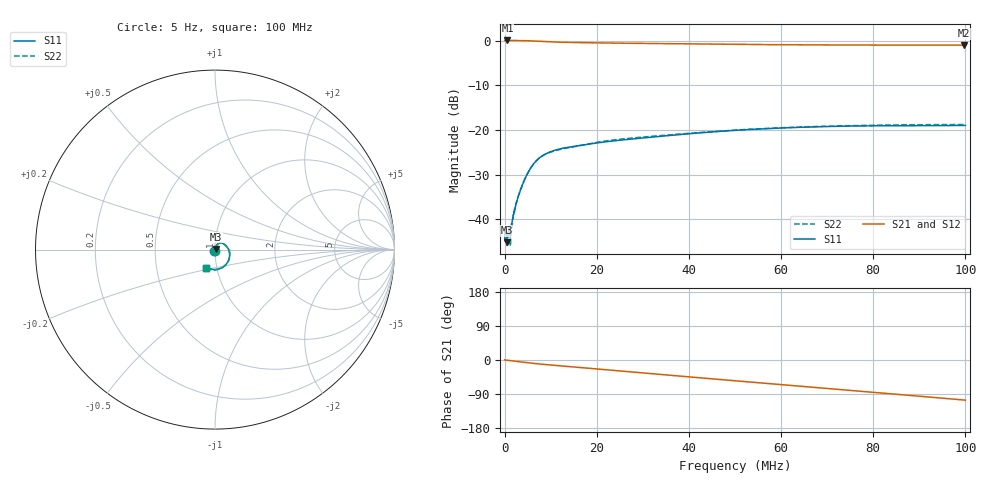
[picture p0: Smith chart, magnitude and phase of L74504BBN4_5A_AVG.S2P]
!Agilent Technologies,E5061B,MY49102235,A.02.00
!Date: Tue Jul 11 16:35:54 2023
!Data & Calibration Information:
!Freq	S11:SOLT2(ON)	S21:SOLT2(ON)	S12:SOLT2(ON)	S22:SOLT2(ON)
# Hz S RI R 50
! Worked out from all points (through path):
!   1600 points, 5 Hz to 100 MHz, reference 50 ohm
!   highest |S21| = 0.02 dB at 625.4 kHz (marker M1); lowest = -1.0 dB at 99.75 MHz (marker M2)
!   group delay of S21, straight-line fit = 2.88 ns
!   lowest |S11| = -45.2 dB at 500.3 kHz (marker M3), VSWR 1.01, Z = 50.5 + j0.291 ohm
!   |S11| at or under -10 dB: start of sweep to end of sweep
!   |S22| runs from -46.0 to -18.8 dB; largest |S21 - S12| = 0.0025
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5  -0.00513 -0.00564  1.002 0.00813  1 0.0102  -0.00153 -0.00756
500317.7  0.0047 0.00288  1.001 -0.0111  1.002 -0.0109  0.00491 0.00127
625395.8  0.00526 0.00355  1.002 -0.0147  1.002 -0.0142  0.00625 0.00314
938091.3  0.00465 0.00581  1.001 -0.0213  1.001 -0.021  0.00622 0.00522
1313326  0.00501 0.00651  1 -0.0301  1.001 -0.0304  0.0032 0.00495
1688560  0.00461 0.00852  0.9996 -0.0404  1.001 -0.0407  0.00434 0.00769
2063795  0.00421 0.0114  1 -0.0498  0.9997 -0.0502  0.00464 0.0112
2376490  0.00473 0.0131  0.9983 -0.0574  0.9989 -0.0576  0.00539 0.0134
2939342  0.0065 0.0166  0.9972 -0.0715  0.9969 -0.0717  0.00548 0.017
3439655  0.00769 0.0199  0.9954 -0.0841  0.9957 -0.0842  0.00658 0.0203
4878054  0.0134 0.0287  0.9879 -0.1203  0.9877 -0.1202  0.0129 0.0292
6316452  0.0228 0.0351  0.9755 -0.1538  0.9752 -0.154  0.0222 0.0352
7942469  0.0343 0.0364  0.9593 -0.1862  0.9592 -0.1862  0.0342 0.0369
1.013134e7  0.0467 0.033  0.9392 -0.2239  0.9391 -0.2235  0.046 0.033
1.669794e7  0.0651 0.0168  0.8887 -0.3261  0.8886 -0.3259  0.0649 0.0166
2.345216e7  0.075 0.00194  0.8333 -0.4282  0.8331 -0.4279  0.077 0.00068
3.333334e7  0.0812 -0.0226  0.7325 -0.5634  0.7324 -0.5632  0.0824 -0.0238
5.003127e7  0.0726 -0.067  0.5219 -0.7406  0.5219 -0.7404  0.0725 -0.0682
6.672921e7  0.0369 -0.1013  0.2794 -0.8492  0.2796 -0.8491  0.0377 -0.102
8.33646e7  -0.00755 -0.1109  0.0202 -0.8889  0.0201 -0.8889  -0.00722 -0.1129
9.974984e7  -0.0482 -0.1012  -0.2401 -0.8545  -0.2398 -0.8546  -0.0481 -0.1043
1e8  -0.0487 -0.1011  -0.244 -0.8535  -0.2439 -0.8535  -0.0488 -0.1039
